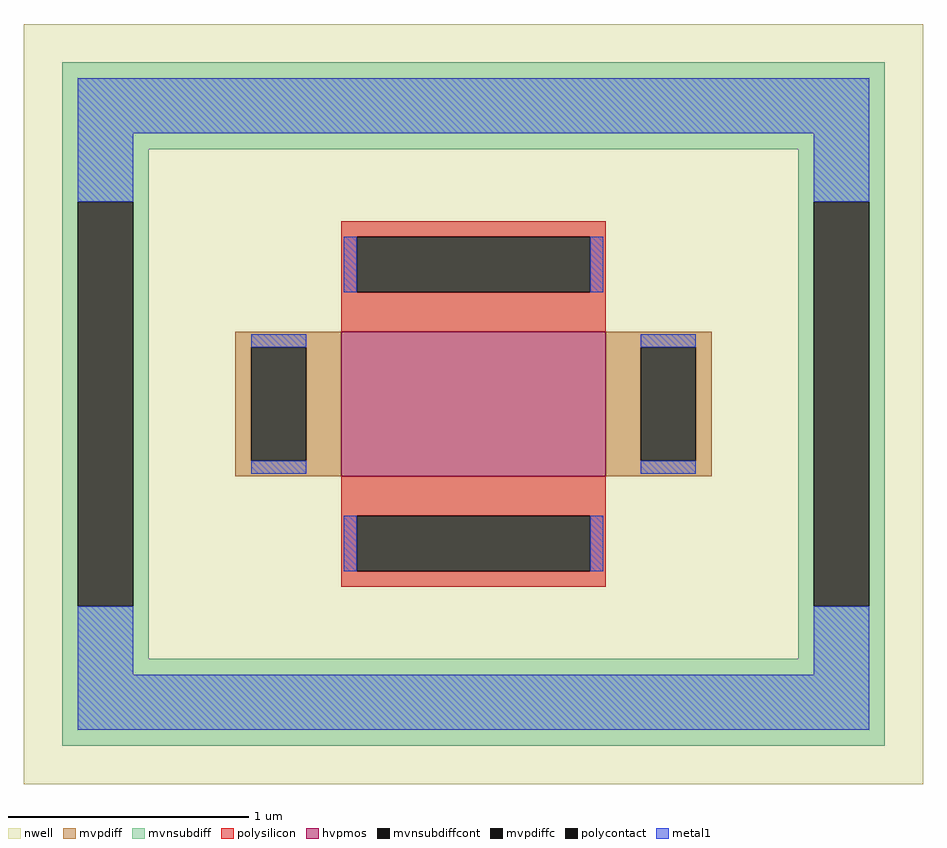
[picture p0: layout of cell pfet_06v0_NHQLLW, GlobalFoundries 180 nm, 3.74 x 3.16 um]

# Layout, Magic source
magic
tech gf180mcuC
magscale 1 10
<< nwell >>
rect -374 -316 374 316
<< hvpmos >>
rect -110 -60 110 60
<< mvpdiff >>
rect -198 47 -110 60
rect -198 -47 -185 47
rect -139 -47 -110 47
rect -198 -60 -110 -47
rect 110 47 198 60
rect 110 -47 139 47
rect 185 -47 198 47
rect 110 -60 198 -47
<< mvpdiffc >>
rect -185 -47 -139 47
rect 139 -47 185 47
<< mvnsubdiff >>
rect -342 212 342 284
rect -342 168 -270 212
rect -342 -168 -329 168
rect -283 -168 -270 168
rect 270 168 342 212
rect -342 -212 -270 -168
rect 270 -168 283 168
rect 329 -168 342 168
rect 270 -212 342 -168
rect -342 -284 342 -212
<< mvnsubdiffcont >>
rect -329 -168 -283 168
rect 283 -168 329 168
<< polysilicon >>
rect -110 139 110 152
rect -110 93 -97 139
rect 97 93 110 139
rect -110 60 110 93
rect -110 -93 110 -60
rect -110 -139 -97 -93
rect 97 -139 110 -93
rect -110 -152 110 -139
<< polycontact >>
rect -97 93 97 139
rect -97 -139 97 -93
<< metal1 >>
rect -329 225 329 271
rect -329 168 -283 225
rect 283 168 329 225
rect -108 93 -97 139
rect 97 93 108 139
rect -185 47 -139 58
rect -185 -58 -139 -47
rect 139 47 185 58
rect 139 -58 185 -47
rect -108 -139 -97 -93
rect 97 -139 108 -93
rect -329 -225 -283 -168
rect 283 -225 329 -168
rect -329 -271 329 -225
<< properties >>
string FIXED_BBOX -306 -248 306 248
string gencell pfet_06v0
string library gf180mcu
string parameters w 0.6 l 1.1 m 1 nf 1 diffcov 100 polycov 100 guard 1 glc 1 grc 1 gtc 0 gbc 0 tbcov 100 rlcov 100 topc 1 botc 1 poverlap 0 doverlap 1 lmin 0.55 wmin 0.3 class mosfet full_metal 1 compatible {pfet_03v3 pfet_05v0 pfet_06v0} ad {int((nf+1)/2) * W/nf * 0.18u} as {int((nf+2)/2) * W/nf * 0.18u} pd {2*int((nf+1)/2) * (W/nf + 0.18u)} ps {2*int((nf+2)/2) * (W/nf + 0.18u)} nrd {0.18u / W} nrs {0.18u / W} sa 0 sb 0 sd 0
<< end >>
